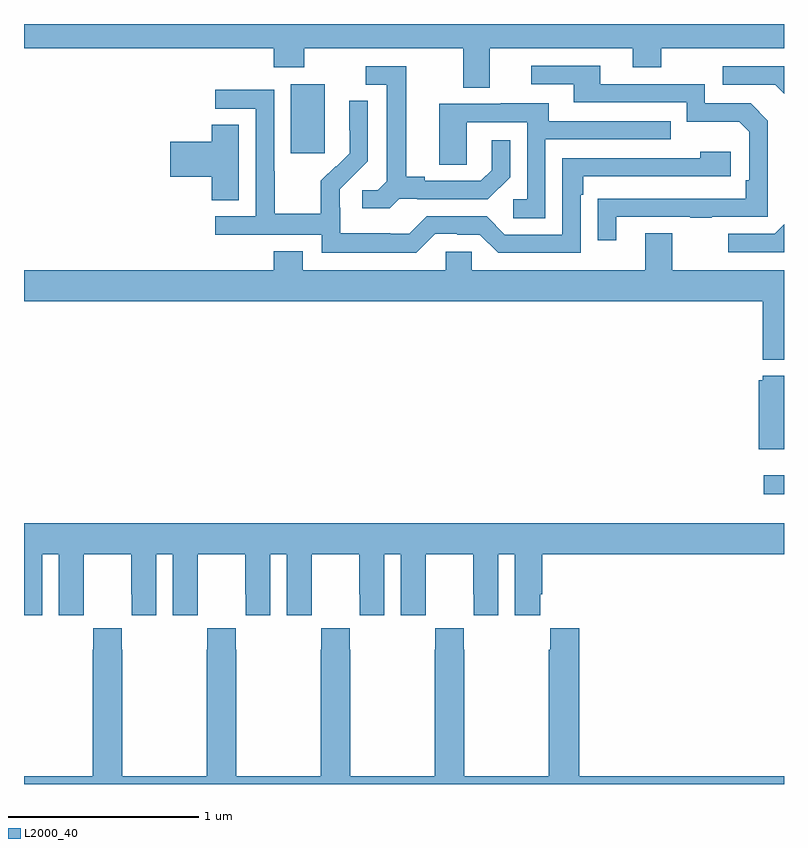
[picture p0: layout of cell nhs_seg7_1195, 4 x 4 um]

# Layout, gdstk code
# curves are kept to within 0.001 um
import gdstk
lib = gdstk.Library(unit=1e-6, precision=1e-09)
def R(c, l, rs):  # rectangles x0, y0, x1, y1
    for r in rs: c.add(gdstk.rectangle(r[:2], r[2:], *l))
def P(c, l, *ps):  # polygons
    for p in ps: c.add(gdstk.Polygon(p, *l))
L2000_40 = (2000, 40)

nhs_seg7_1195 = lib.new_cell('nhs_seg7_1195')
R(nhs_seg7_1195, L2000_40, [(196.893,1075.526,197,1075.624), (194.405,1077.321,194.584,1077.682)])
P(nhs_seg7_1195, L2000_40, [(195.451,1077.872),(196.205,1077.872),(196.205,1077.773),(196.353,1077.773),(196.353,1077.872),(197,1077.872),(197,1078),(193,1078),(193,1077.872),(194.315,1077.872),(194.315,1077.773),(194.475,1077.773),(194.475,1077.872),(195.311,1077.872),(195.311,1077.664),(195.451,1077.664)],
  [(196.117,1076.985),(196.507,1076.985),(196.507,1076.98),(196.619,1076.98),(196.619,1076.985),(196.914,1076.985),(196.914,1077.492),(196.824,1077.582),(196.584,1077.582),(196.584,1077.684),(196.033,1077.684),(196.033,1077.78),(195.669,1077.78),(195.669,1077.684),(195.893,1077.684),(195.893,1077.588),(196.488,1077.588),(196.488,1077.485),(196.765,1077.485),(196.818,1077.432),(196.818,1077.178),(196.798,1077.178),(196.798,1077.081),(196.021,1077.08),(196.021,1076.862),(196.117,1076.862)],
  [(194.976,1077.081),(195.07,1077.081),(195.07,1077.078),(195.442,1077.078),(195.558,1077.194),(195.558,1077.388),(195.461,1077.388),(195.461,1077.231),(195.404,1077.174),(195.109,1077.174),(195.109,1077.197),(195.013,1077.197),(195.013,1077.777),(194.799,1077.777),(194.799,1077.681),(194.909,1077.681),(194.909,1077.173),(194.862,1077.126),(194.781,1077.126),(194.781,1077.029),(194.924,1077.029)],
  [(197,1077.777),(196.677,1077.777),(196.677,1077.681),(196.953,1077.681),(197,1077.634)],
  [(195.165,1076.895),(195.281,1076.895),(195.281,1076.892),(195.399,1076.892),(195.495,1076.796),(195.93,1076.796),(195.93,1077.101),(195.943,1077.101),(195.943,1077.198),(196.72,1077.198),(196.72,1077.328),(196.559,1077.328),(196.559,1077.294),(195.834,1077.294),(195.834,1076.892),(195.531,1076.892),(195.435,1076.988),(195.12,1076.988),(195.027,1076.895),(194.927,1076.895),(194.927,1076.899),(194.664,1076.899),(194.664,1077.033),(194.662,1077.033),(194.662,1077.13),(194.808,1077.278),(194.808,1077.596),(194.712,1077.596),(194.712,1077.442),(194.714,1077.442),(194.714,1077.32),(194.643,1077.249),(194.64,1077.252),(194.563,1077.175),(194.563,1077.001),(194.319,1077.001),(194.319,1077.224),(194.316,1077.224),(194.316,1077.654),(194.007,1077.654),(194.007,1077.555),(194.22,1077.555),(194.22,1076.988),(194.007,1076.988),(194.007,1076.892),(194.568,1076.892),(194.568,1076.795),(195.065,1076.795)],
  [(195.744,1077.393),(196.403,1077.393),(196.403,1077.489),(195.763,1077.489),(195.763,1077.583),(195.509,1077.583),(195.509,1077.579),(195.185,1077.579),(195.185,1077.259),(195.33,1077.259),(195.33,1077.483),(195.648,1077.483),(195.648,1077.078),(195.576,1077.078),(195.576,1076.977),(195.744,1076.977)],
  [(194.131,1077.47),(193.988,1077.47),(193.988,1077.38),(193.77,1077.38),(193.77,1077.197),(193.988,1077.197),(193.988,1077.073),(194.131,1077.073)],
  [(197,1076.945),(196.95,1076.895),(196.707,1076.895),(196.707,1076.799),(197,1076.799)],
  [(197,1076.704),(196.411,1076.704),(196.411,1076.899),(196.271,1076.899),(196.271,1076.704),(195.357,1076.704),(195.357,1076.802),(195.219,1076.802),(195.219,1076.704),(194.467,1076.704),(194.467,1076.803),(194.315,1076.803),(194.315,1076.704),(193,1076.704),(193,1076.54),(196.889,1076.54),(196.889,1076.234),(197,1076.234)],
  [(197,1076.149),(196.887,1076.149),(196.887,1076.124),(196.868,1076.124),(196.868,1075.763),(197,1075.763)],
  [(193,1074.888),(193.096,1074.888),(193.096,1075.208),(193.184,1075.208),(193.184,1074.888),(193.314,1074.888),(193.314,1075),(193.315,1075),(193.315,1075.208),(193.565,1075.208),(193.565,1075),(193.566,1075),(193.566,1074.888),(193.696,1074.888),(193.696,1075.208),(193.784,1075.208),(193.784,1074.888),(193.914,1074.888),(193.914,1075),(193.915,1075),(193.915,1075.208),(194.165,1075.208),(194.165,1075),(194.166,1075),(194.166,1074.888),(194.296,1074.888),(194.296,1075.208),(194.384,1075.208),(194.384,1074.888),(194.514,1074.888),(194.514,1075),(194.515,1075),(194.515,1075.208),(194.765,1075.208),(194.765,1075),(194.766,1075),(194.766,1074.888),(194.896,1074.888),(194.896,1075.208),(194.984,1075.208),(194.984,1074.888),(195.114,1074.888),(195.114,1075),(195.115,1075),(195.115,1075.208),(195.365,1075.208),(195.365,1075),(195.366,1075),(195.366,1074.888),(195.496,1074.888),(195.496,1075.208),(195.584,1075.208),(195.584,1074.888),(195.718,1074.888),(195.718,1075),(195.728,1075),(195.728,1075.208),(197,1075.208),(197,1075.372),(193,1075.372)],
  [(197,1074.04),(195.923,1074.04),(195.923,1074.82),(195.769,1074.82),(195.769,1074.707),(195.763,1074.707),(195.763,1074.04),(195.318,1074.04),(195.318,1074.707),(195.315,1074.707),(195.315,1074.82),(195.165,1074.82),(195.165,1074.707),(195.163,1074.707),(195.163,1074.04),(194.718,1074.04),(194.718,1074.707),(194.715,1074.707),(194.715,1074.82),(194.565,1074.82),(194.565,1074.707),(194.563,1074.707),(194.563,1074.04),(194.118,1074.04),(194.118,1074.707),(194.115,1074.707),(194.115,1074.82),(193.965,1074.82),(193.965,1074.707),(193.963,1074.707),(193.963,1074.04),(193.518,1074.04),(193.518,1074.707),(193.515,1074.707),(193.515,1074.82),(193.365,1074.82),(193.365,1074.707),(193.363,1074.707),(193.363,1074.04),(193,1074.04),(193,1074),(197,1074)])

lib.write_gds('nhs_seg7_1195.gds')
